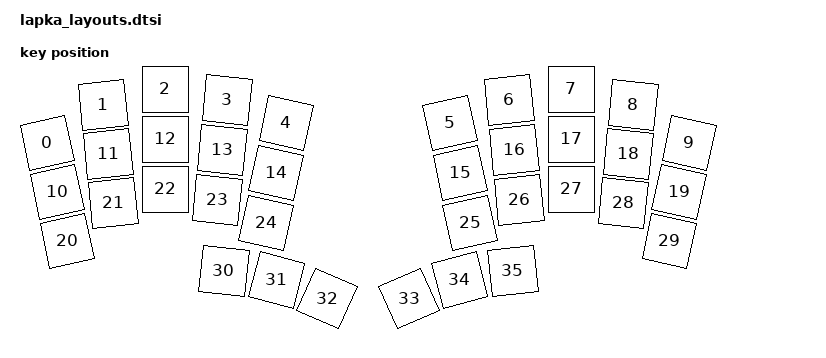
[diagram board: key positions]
#include <physical_layouts.dtsi>

/ {
    lapka36_layout: lapka36_layout {
        compatible = "zmk,physical-layout";
        display-name = "Lapka 36";

        keys
            // Left half - main keys
            //                       w   h    x    y     rot    rx    ry
            = <&key_physical_attrs 100 100    4  116  (-1200)   54   166> // Q
            , <&key_physical_attrs 100 100  116   40   (-600)  166    90> // W
            , <&key_physical_attrs 100 100  240    8       0     0     0> // E
            , <&key_physical_attrs 100 100  364   30     600   414    80> // R
            , <&key_physical_attrs 100 100  482   76    1200   532   126> // T

            // Right half - main keys
            //                       w   h    x    y     rot    rx    ry
            , <&key_physical_attrs 100 100  810   76  (-1200)  860   126> // Y
            , <&key_physical_attrs 100 100  928   30   (-600)  978    80> // U
            , <&key_physical_attrs 100 100 1052    8       0     0     0> // I
            , <&key_physical_attrs 100 100 1176   40     600  1226    90> // O
            , <&key_physical_attrs 100 100 1288  116    1200  1338   166> // P

            // Left half - home row
            //                       w   h    x    y     rot    rx    ry
            , <&key_physical_attrs 100 100   24  214  (-1200)   74   264> // A
            , <&key_physical_attrs 100 100  126  138   (-600)  176   188> // S
            , <&key_physical_attrs 100 100  240  108       0     0     0> // D
            , <&key_physical_attrs 100 100  354  130     600   404   180> // F
            , <&key_physical_attrs 100 100  462  176    1200   512   226> // G

            // Right half - home row
            //                       w   h    x    y     rot    rx    ry
            , <&key_physical_attrs 100 100  830  176  (-1200)  880   226> // H
            , <&key_physical_attrs 100 100  938  130   (-600)  988   180> // J
            , <&key_physical_attrs 100 100 1052  108       0     0     0> // K
            , <&key_physical_attrs 100 100 1166  138     600  1216   188> // L
            , <&key_physical_attrs 100 100 1268  214    1200  1318   264> // ~

            // Left half - bottom row
            //                       w   h    x    y     rot    rx    ry
            , <&key_physical_attrs 100 100   44  312  (-1200)   94   362> // Z
            , <&key_physical_attrs 100 100  136  236   (-600)  186   286> // X
            , <&key_physical_attrs 100 100  240  208       0     0     0> // C
            , <&key_physical_attrs 100 100  344  230     600   394   280> // V
            , <&key_physical_attrs 100 100  442  276    1200   492   326> // B

            // Right half - bottom row
            //                       w   h    x    y     rot    rx    ry
            , <&key_physical_attrs 100 100  850  276  (-1200)  900   326> // N
            , <&key_physical_attrs 100 100  948  230   (-600)  998   280> // M
            , <&key_physical_attrs 100 100 1052  208       0     0     0> // &
            , <&key_physical_attrs 100 100 1156  236     600  1206   286> // [
            , <&key_physical_attrs 100 100 1248  312    1200  1298   362> // ]

            // Thumb clusters
            //                       w   h    x    y     rot    rx    ry
            , <&key_physical_attrs 100 100  357  372     600   407   422>
            , <&key_physical_attrs 100 100  463  390    1500   513   440>
            , <&key_physical_attrs 100 100  564  427    2400   614   477>

            , <&key_physical_attrs 100 100  728  427  (-2400)  778   477>
            , <&key_physical_attrs 100 100  829  390  (-1500)  879   440>
            , <&key_physical_attrs 100 100  935  372   (-600)  985   422>
            ;
    };
};
